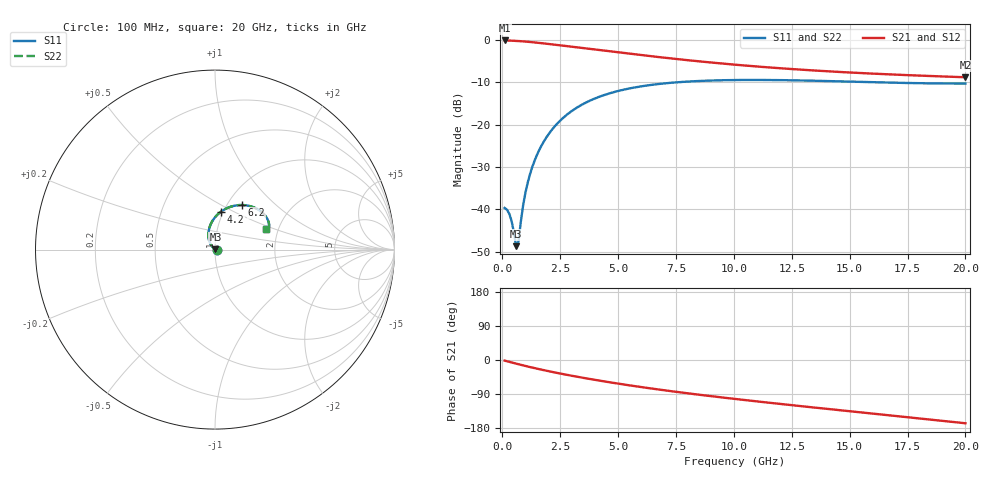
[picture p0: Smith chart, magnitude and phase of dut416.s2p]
! Touchstone file exported from HFSS 2024.1.0
!  File:  C:/UserFiles/LocalFiles/RDL_TSV_Batchsim/temp_RDL_TSV_416_1779716251.aedt
!  Generated:  09:58:57 PM May 25, 2026
!  Design:  RDL_TSV
!  Project:  temp_RDL_TSV_416_1779716251
!  Setup:  Setup1
!  Solution:  Sweep
! Variables:
!  dtsv = 9.57um
!  hbump = 3um
!  htsv = 91.57um
!  ldown = 521.84um
!  lrdl = 132.88um
!  p = 40
!  p1 = 59.92um
!  rhole = 10um
!  subl = 2097.04um
!  t = 450um
!  tdown = 4.28um
!  trdl = 4.01um
!  viad = 10um
!  wdown = 17.76um
!  wrdl = 20.53um
!  xbump = 18um
# GHz S MA R 50.000000
! Terminal data exported
! Port[1] = TM1_1_T1
! Port[2] = TM1_4_T1
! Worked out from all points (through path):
!   200 points, 100 MHz to 20 GHz, reference 50 ohm
!   highest |S21| = -0.10 dB at 100 MHz (marker M1); lowest = -8.8 dB at 20 GHz (marker M2)
!   group delay of S21, straight-line fit = 21.5 ps
!   lowest |S11| = -48.7 dB at 600 MHz (marker M3), VSWR 1.01, Z = 50.3 + j0.269 ohm
!   |S11| at or under -10 dB: start of sweep to 7.486 GHz; 16.34 GHz to end of sweep
!   |S22| runs from -48.7 to -9.4 dB; largest |S21 - S12| = 2.3e-14
!   S11 on the Smith chart (normalised r, x): 100 MHz: 1.02, +0.00; 4.2 GHz: 0.98, +0.43; 6.2 GHz: 1.17, +0.63; 20 GHz: 1.72, +0.44
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0.1  0.01042 1.8  0.989 -1.6  0.989 -1.6  0.01042 1.8
! Gamma 0 0 0 0
! Port Impedance 50 0 50 0
0.3  0.008922 4.6  0.9858 -4.9  0.9858 -4.9  0.008923 4.6
0.4  0.007351 8.1  0.9834 -6.5  0.9834 -6.5  0.007353 8.1
0.6  0.003688 46.6  0.9771 -9.6  0.9771 -9.6  0.003688 46.5
0.7  0.004183 95.8  0.9733 -11.2  0.9733 -11.2  0.004177 95.7
0.8  0.007154 120.7  0.9691 -12.7  0.9691 -12.7  0.007144 120.7
0.9  0.01119 129.1  0.9645 -14.2  0.9645 -14.2  0.01118 129.1
1.1  0.02087 132.5  0.9543 -17.2  0.9543 -17.2  0.02086 132.5
1.3  0.03202 130.8  0.943 -20.1  0.943 -20.1  0.032 130.8
1.6  0.05062 125.7  0.9247 -24.3  0.9247 -24.3  0.0506 125.7
2  0.07747 117.8  0.8991 -29.5  0.8991 -29.5  0.07744 117.8
2.4  0.1051 109.9  0.873 -34.5  0.873 -34.5  0.105 109.9
2.9  0.1388 100.8  0.8407 -40.4  0.8407 -40.4  0.1388 100.8
3.5  0.1763 90.9  0.8031 -47.1  0.8031 -47.1  0.1762 90.9
4.2  0.2145 80.9  0.7612 -54.5  0.7612 -54.5  0.2144 80.9
6.2  0.2896 59.1  0.6552 -73.2  0.6552 -73.2  0.2896 59.1
6.8  0.3038 54.0  0.6277 -78.3  0.6277 -78.3  0.3037 54.1
8.4  0.3277 43.1  0.5641 -90.9  0.5641 -90.9  0.3277 43.1
10.1  0.3374 34.6  0.5105 -103.1  0.5105 -103.1  0.3374 34.6
13.4  0.3313 24.5  0.4383 -125.0  0.4383 -125.0  0.3313 24.6
16.7  0.3145 21.1  0.3935 -145.9  0.3935 -145.9  0.3145 21.1
20  0.3065 22.5  0.3637 -166.9  0.3637 -166.9  0.3065 22.5
